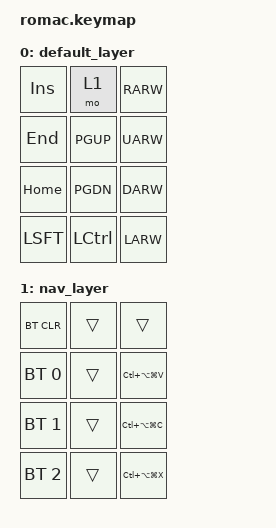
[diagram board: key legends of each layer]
/*
 * Copyright (c) 2020 Pete Johanson, Richard Jones
 *
 * SPDX-License-Identifier: MIT
 */

#include <behaviors.dtsi>
#include <dt-bindings/zmk/keys.h>
#include <dt-bindings/zmk/bt.h>

/ {
    keymap {
        compatible = "zmk,keymap";
        
        default_layer {
// ------------------------
// | INS   |  MO(1) |  -> |
// | END   |  PGUP  |  ^  |
// | HOME  |  PGDN  |  v  |
// | SHFT  |  CTRL  |  <- |
// ------------------------
            bindings = <
    &kp INS  &mo 1    &kp RARW 
    &kp END  &kp PGUP &kp UARW 
    &kp HOME &kp PGDN &kp DARW 
    &kp LSFT &kp LCTL &kp LARW 
            >;
        };

        nav_layer {
// --------------------------
// | bt2   |  _  |  _       |
// | bt1   |  _  |  LCAG(V) |
// | bt0   |  _  |  LCAG(C) |
// | btclr |  _  |  LCAG(X) |
// --------------------------
            bindings = <
    &bt BT_CLR   &trans &trans
    &bt BT_SEL 0 &trans &kp LC(LA(LG(V))) 
    &bt BT_SEL 1 &trans &kp LC(LA(LG(C))) 
    &bt BT_SEL 2 &trans &kp LC(LA(LG(X)))
            >;
        };
    };
};


